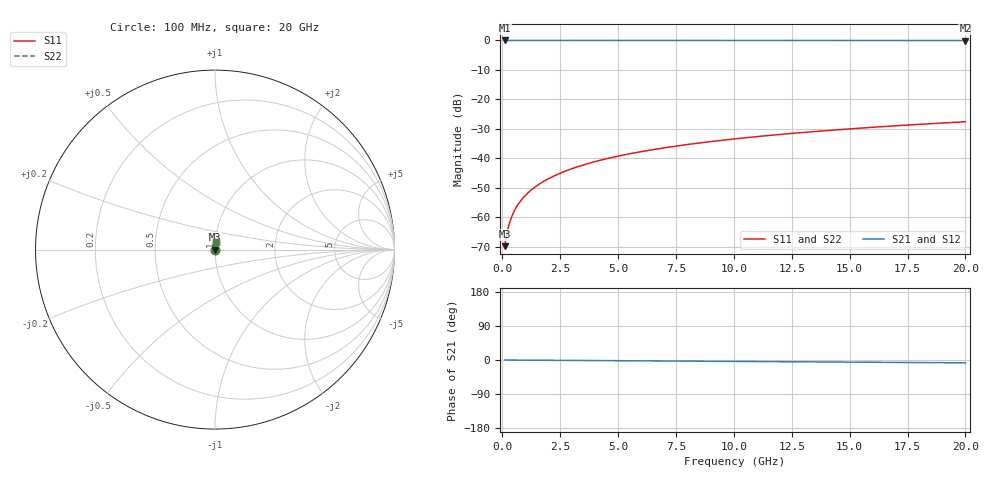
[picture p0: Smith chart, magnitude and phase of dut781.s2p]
! Touchstone file exported from HFSS 2026.1.0
!  File:  C:/ffzhzh/LocalFiles/Ansys_Project_Files/temp_train_TSV_781_1783183665_18472.aedt
!  Generated:  12:49:17 AM Jul  5, 2026
!  Design:  TSV
!  Project:  temp_train_TSV_781_1783183665_18472
! Variables:
!  h_bsmrdl = 2um
!  h_ox = 20um
!  h_rdl = 5um
!  h_sub = 68.18um
!  h_tmrdl = 5um
!  h_tsv = 68.18um
!  h_via = 3um
!  l_bsmrdl = 300um
!  l_sub = 413.54um
!  l_tmrdl = 200um
!  m_sub = 200um
!  pitch = 42.06um
!  r_tsv = 6.77um
!  s_tmrdl = 10um
!  w_bsmrdl = 18um
!  w_sub = 500um
!  w_tmrdl = 12um
!  x_tsv_center1 = 206um
!  x_tsv_center2 = 524um
!  x_tsv_center3 = 736um
!  x_tsv_center4 = 1054um
!  x_tsv_center5 = 1266um
!  x_tsv_center6 = 1584um
# GHz S MA R 50.000000
! Terminal data exported
! Port[1] = TSV1_1_T1
! Port[2] = TSV1_1_T2
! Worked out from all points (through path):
!   200 points, 100 MHz to 20 GHz, reference 50 ohm
!   highest |S21| = 0.00 dB at 100 MHz (marker M1); lowest = 0.0 dB at 20 GHz (marker M2)
!   group delay of S21, straight-line fit = 1.03 ps
!   lowest |S11| = -69.8 dB at 100 MHz (marker M3), VSWR 1.00, Z = 50 + j0.0249 ohm
!   |S11| at or under -10 dB: start of sweep to end of sweep
!   |S22| runs from -69.8 to -27.6 dB; largest |S21 - S12| = 5.6e-15
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0.1  0.0003229 50.3  0.9998 -0.0  0.9998 -0.0  0.0003229 50.3
! Gamma 0 0 0 0
! Port Impedance 50 0 50 0
0.2  0.0005401 66.4  0.9998 -0.1  0.9998 -0.1  0.0005401 66.4
0.3  0.0007732 72.6  0.9998 -0.1  0.9998 -0.1  0.0007732 72.6
0.4  0.001008 75.6  0.9998 -0.2  0.9998 -0.2  0.001008 75.6
0.5  0.00124 77.4  0.9997 -0.2  0.9997 -0.2  0.00124 77.4
0.6  0.001469 78.5  0.9997 -0.2  0.9997 -0.2  0.001469 78.5
0.7  0.001695 79.3  0.9997 -0.3  0.9997 -0.3  0.001695 79.3
0.8  0.001918 79.9  0.9997 -0.3  0.9997 -0.3  0.001918 79.9
1  0.002358 80.8  0.9996 -0.4  0.9996 -0.4  0.002358 80.8
1.4  0.003225 82.1  0.9996 -0.5  0.9996 -0.5  0.003225 82.1
1.7  0.00387 82.7  0.9995 -0.7  0.9995 -0.7  0.00387 82.7
2  0.004515 83.2  0.9995 -0.8  0.9995 -0.8  0.004515 83.2
2.7  0.006014 83.8  0.9994 -1.0  0.9994 -1.0  0.006014 83.8
3.5  0.00772 84.1  0.9994 -1.3  0.9994 -1.3  0.00772 84.1
4.2  0.009203 84.2  0.9993 -1.6  0.9993 -1.6  0.009203 84.2
5  0.01089 84.2  0.9992 -1.9  0.9992 -1.9  0.01089 84.2
6.8  0.01465 84.1  0.999 -2.6  0.999 -2.6  0.01465 84.1
8.3  0.01777 83.8  0.9989 -3.1  0.9989 -3.1  0.01777 83.8
10.1  0.02149 83.4  0.9987 -3.8  0.9987 -3.8  0.02149 83.4
13.4  0.02829 82.6  0.9984 -5.0  0.9984 -5.0  0.02829 82.6
16.7  0.03505 81.6  0.998 -6.2  0.998 -6.2  0.03505 81.6
20  0.04175 80.5  0.9976 -7.5  0.9976 -7.5  0.04175 80.5
